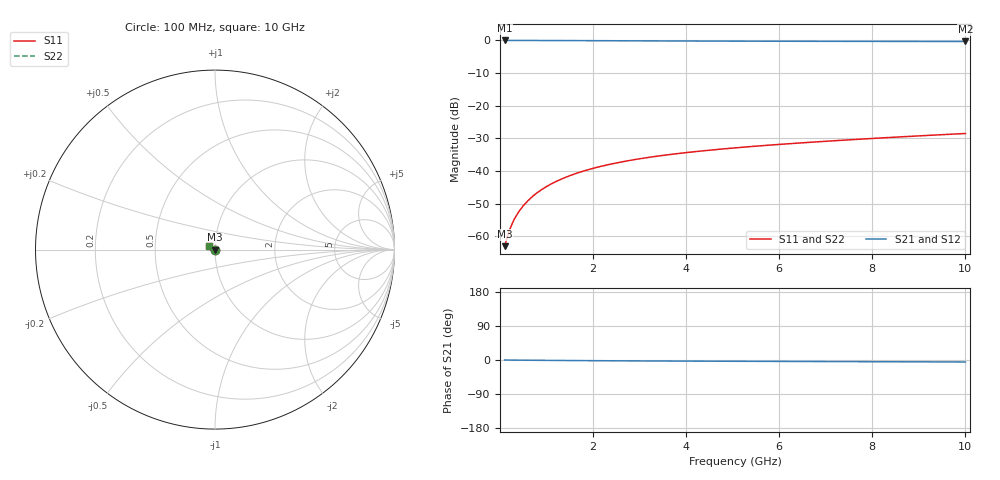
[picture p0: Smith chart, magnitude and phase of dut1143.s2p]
! Touchstone file exported from HFSS 2024.1.0
!  File:  C:/UserFiles/LocalFiles/RDL_TSV_Batchsim/temp_TSV1_1143_1780071188.aedt
!  Generated:  12:20:58 AM May 30, 2026
!  Design:  TSV1
!  Project:  temp_TSV1_1143_1780071188
!  Setup:  Setup1
!  Solution:  Sweep
! Variables:
!  dtsv = 5.86um
!  hbump = 3um
!  htsv = 77.17um
!  lrdl = 252.1521522um
!  p = 40
!  p1 = 49.17um
!  t = 500um
!  trdl = 3um
!  wrdl = 24.89489489um
# GHz S MA R 50.000000
! Terminal data exported
! Port[1] = TSV22_T1
! Port[2] = TSV22_T2
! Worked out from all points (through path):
!   100 points, 100 MHz to 10 GHz, reference 50 ohm
!   highest |S21| = 0.00 dB at 100 MHz (marker M1); lowest = -0.3 dB at 10 GHz (marker M2)
!   lowest |S11| = -63.0 dB at 100 MHz (marker M3), VSWR 1.00, Z = 50 - j0.0598 ohm
!   |S11| at or under -10 dB: start of sweep to end of sweep
!   |S22| runs from -63.0 to -28.5 dB; largest |S21 - S12| = 3e-15
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0.1  0.0007073 -57.6  0.9996 -0.1  0.9996 -0.1  0.0007073 -57.6
! Gamma 0 0 0 0
! Port Impedance 50 0 50 0
0.2  0.001231 -75.6  0.9995 -0.2  0.9995 -0.2  0.001231 -75.6
0.3  0.001791 -84.0  0.9994 -0.3  0.9994 -0.3  0.001791 -84.0
0.4  0.002361 -89.4  0.9992 -0.4  0.9992 -0.4  0.002361 -89.4
0.5  0.002936 -93.6  0.999 -0.5  0.999 -0.5  0.002936 -93.6
0.6  0.003511 -97.1  0.9987 -0.6  0.9987 -0.6  0.003511 -97.1
0.7  0.004084 -100.2  0.9984 -0.7  0.9984 -0.7  0.004084 -100.2
0.8  0.004654 -103.1  0.9981 -0.8  0.9981 -0.8  0.004654 -103.1
0.9  0.005221 -105.7  0.9977 -0.9  0.9977 -0.9  0.005221 -105.7
1.1  0.006337 -110.7  0.9968 -1.1  0.9968 -1.1  0.006337 -110.7
1.4  0.007962 -117.6  0.9954 -1.3  0.9954 -1.3  0.007962 -117.6
1.6  0.009006 -121.9  0.9943 -1.5  0.9943 -1.5  0.009006 -121.9
1.8  0.01002 -126.1  0.9931 -1.6  0.9931 -1.6  0.01002 -126.1
2.1  0.01147 -132.0  0.9913 -1.9  0.9913 -1.9  0.01147 -132.0
2.5  0.0133 -139.4  0.9889 -2.1  0.9889 -2.1  0.0133 -139.4
2.9  0.015 -146.3  0.9864 -2.4  0.9864 -2.4  0.015 -146.3
3.4  0.01697 -154.2  0.9835 -2.6  0.9835 -2.6  0.01697 -154.2
4.2  0.01984 -165.5  0.9792 -3.0  0.9792 -3.0  0.01984 -165.5
5.1  0.02279 -176.4  0.9753 -3.4  0.9753 -3.4  0.02279 -176.4
6.7  0.02768 168.0  0.9702 -4.0  0.9702 -4.0  0.02768 168.0
8.4  0.03274 155.4  0.9664 -4.6  0.9664 -4.6  0.03274 155.4
10  0.03759 146.1  0.9639 -5.2  0.9639 -5.2  0.03759 146.1
